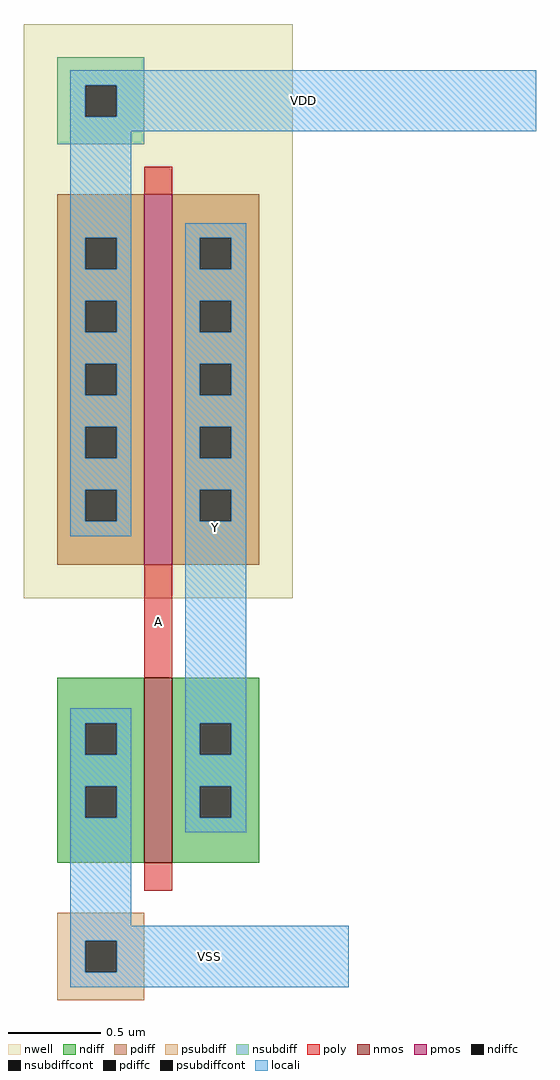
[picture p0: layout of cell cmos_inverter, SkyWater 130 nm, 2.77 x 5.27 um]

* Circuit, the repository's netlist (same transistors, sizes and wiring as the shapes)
* NGSPICE file created from cmos_inverter.ext - technology: sky130A

.subckt cmos_inverter A Y VDD VSS
X0 Y A VSS VSS sky130_fd_pr__nfet_01v8 ad=0.47 pd=2.94 as=0.47 ps=2.94 w=1 l=0.15
X1 Y A VDD VDD sky130_fd_pr__pfet_01v8 ad=0.94 pd=4.94 as=0.94 ps=4.94 w=2 l=0.15
.ends

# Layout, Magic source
magic
tech sky130A
magscale 1 2
<< nwell >>
rect -36 -36 254 584
<< nmos >>
rect 94 -322 124 -122
<< pmos >>
rect 94 0 124 400
<< ndiff >>
rect 0 -171 94 -122
rect 0 -205 30 -171
rect 64 -205 94 -171
rect 0 -239 94 -205
rect 0 -273 30 -239
rect 64 -273 94 -239
rect 0 -322 94 -273
rect 124 -171 218 -122
rect 124 -205 154 -171
rect 188 -205 218 -171
rect 124 -239 218 -205
rect 124 -273 154 -239
rect 188 -273 218 -239
rect 124 -322 218 -273
<< pdiff >>
rect 0 353 94 400
rect 0 319 30 353
rect 64 319 94 353
rect 0 285 94 319
rect 0 251 30 285
rect 64 251 94 285
rect 0 217 94 251
rect 0 183 30 217
rect 64 183 94 217
rect 0 149 94 183
rect 0 115 30 149
rect 64 115 94 149
rect 0 81 94 115
rect 0 47 30 81
rect 64 47 94 81
rect 0 0 94 47
rect 124 353 218 400
rect 124 319 154 353
rect 188 319 218 353
rect 124 285 218 319
rect 124 251 154 285
rect 188 251 218 285
rect 124 217 218 251
rect 124 183 154 217
rect 188 183 218 217
rect 124 149 218 183
rect 124 115 154 149
rect 188 115 218 149
rect 124 81 218 115
rect 124 47 154 81
rect 188 47 218 81
rect 124 0 218 47
<< ndiffc >>
rect 30 -205 64 -171
rect 30 -273 64 -239
rect 154 -205 188 -171
rect 154 -273 188 -239
<< pdiffc >>
rect 30 319 64 353
rect 30 251 64 285
rect 30 183 64 217
rect 30 115 64 149
rect 30 47 64 81
rect 154 319 188 353
rect 154 251 188 285
rect 154 183 188 217
rect 154 115 188 149
rect 154 47 188 81
<< psubdiff >>
rect 0 -406 94 -376
rect 0 -440 30 -406
rect 64 -440 94 -406
rect 0 -470 94 -440
<< nsubdiff >>
rect 0 518 94 548
rect 0 484 30 518
rect 64 484 94 518
rect 0 454 94 484
<< psubdiffcont >>
rect 30 -440 64 -406
<< nsubdiffcont >>
rect 30 484 64 518
<< poly >>
rect 94 400 124 430
rect 94 -122 124 0
rect 94 -352 124 -322
<< locali >>
rect 14 518 517 534
rect 14 484 30 518
rect 64 484 517 518
rect 14 468 517 484
rect 14 353 80 468
rect 14 319 30 353
rect 64 319 80 353
rect 14 285 80 319
rect 14 251 30 285
rect 64 251 80 285
rect 14 217 80 251
rect 14 183 30 217
rect 64 183 80 217
rect 14 149 80 183
rect 14 115 30 149
rect 64 115 80 149
rect 14 81 80 115
rect 14 47 30 81
rect 64 47 80 81
rect 14 31 80 47
rect 138 353 204 369
rect 138 319 154 353
rect 188 319 204 353
rect 138 285 204 319
rect 138 251 154 285
rect 188 251 204 285
rect 138 217 204 251
rect 138 183 154 217
rect 188 183 204 217
rect 138 149 204 183
rect 138 115 154 149
rect 188 115 204 149
rect 138 81 204 115
rect 138 47 154 81
rect 188 47 204 81
rect 14 -171 80 -155
rect 14 -205 30 -171
rect 64 -205 80 -171
rect 14 -239 80 -205
rect 14 -273 30 -239
rect 64 -273 80 -239
rect 14 -390 80 -273
rect 138 -171 204 47
rect 138 -205 154 -171
rect 188 -205 204 -171
rect 138 -239 204 -205
rect 138 -273 154 -239
rect 188 -273 204 -239
rect 138 -289 204 -273
rect 14 -406 315 -390
rect 14 -440 30 -406
rect 64 -440 315 -406
rect 14 -456 315 -440
<< labels >>
flabel locali 14 468 517 534 1 FreeSans 480 0 0 0 VDD
port 3 n
flabel locali 14 -456 315 -390 1 FreeSans 480 0 0 0 VSS
port 4 n
flabel poly 94 -92 124 -30 1 FreeSans 480 0 0 0 A
port 1 n
flabel locali 138 -289 204 369 1 FreeSans 480 0 0 0 Y
port 2 n
<< end >>
